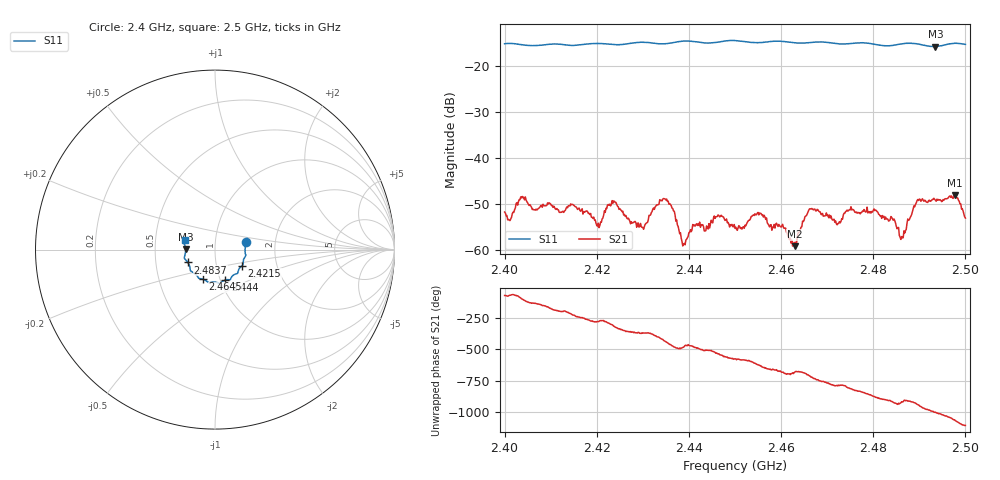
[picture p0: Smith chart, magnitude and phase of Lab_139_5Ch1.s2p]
# Hz S RI R 50
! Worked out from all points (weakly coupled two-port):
!   601 points, 2.4 GHz to 2.5 GHz, reference 50 ohm
!   highest |S21| = -47.94 dB at 2.4977 GHz (marker M1); lowest = -59.1 dB at 2.463 GHz (marker M2)
!   lowest |S11| = -15.7 dB at 2.4935 GHz (marker M3), VSWR 1.39, Z = 35.9 + j0.278 ohm
!   |S11| at or under -10 dB: start of sweep to end of sweep
!   S12 and S22 are empty: the file has one direction only
!   S11 on the Smith chart (normalised r, x): 2.4 GHz: 1.41, +0.12; 2.4215 GHz: 1.33, -0.25; 2.444 GHz: 1.06, -0.37; 2.4645 GHz: 0.83, -0.29; 2.4837 GHz: 0.73, -0.11; 2.5 GHz: 0.71, +0.07
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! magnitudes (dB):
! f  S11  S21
! 2.4 GHz  -15.1  -51.7
! 2.404 GHz  -15.4  -48.6
! 2.4167 GHz  -15.3  -51.2
! 2.4215 GHz  -15.1  -52.3
! 2.4238 GHz  -15.3  -49.4
! 2.4302 GHz  -14.8  -55.4
! 2.4333 GHz  -15.1  -50.1
! 2.436 GHz  -15.0  -50.0
! 2.4388 GHz  -14.5  -58.7
! 2.444 GHz  -15.0  -55.1
! 2.45 GHz  -14.4  -55.2
! 2.4553 GHz  -14.9  -51.9
! 2.463 GHz  -14.9  -59.1
! 2.4645 GHz  -15.0  -54.9
! 2.4667 GHz  -14.8  -50.9
! 2.4833 GHz  -15.6  -53.6
! 2.4837 GHz  -15.5  -53.4
! 2.4862 GHz  -15.1  -57.0
! 2.4897 GHz  -15.1  -48.9
! 2.4935 GHz  -15.7  -49.1
! 2.4977 GHz  -15.0  -47.9
! 2.5 GHz  -15.2  -53.0
